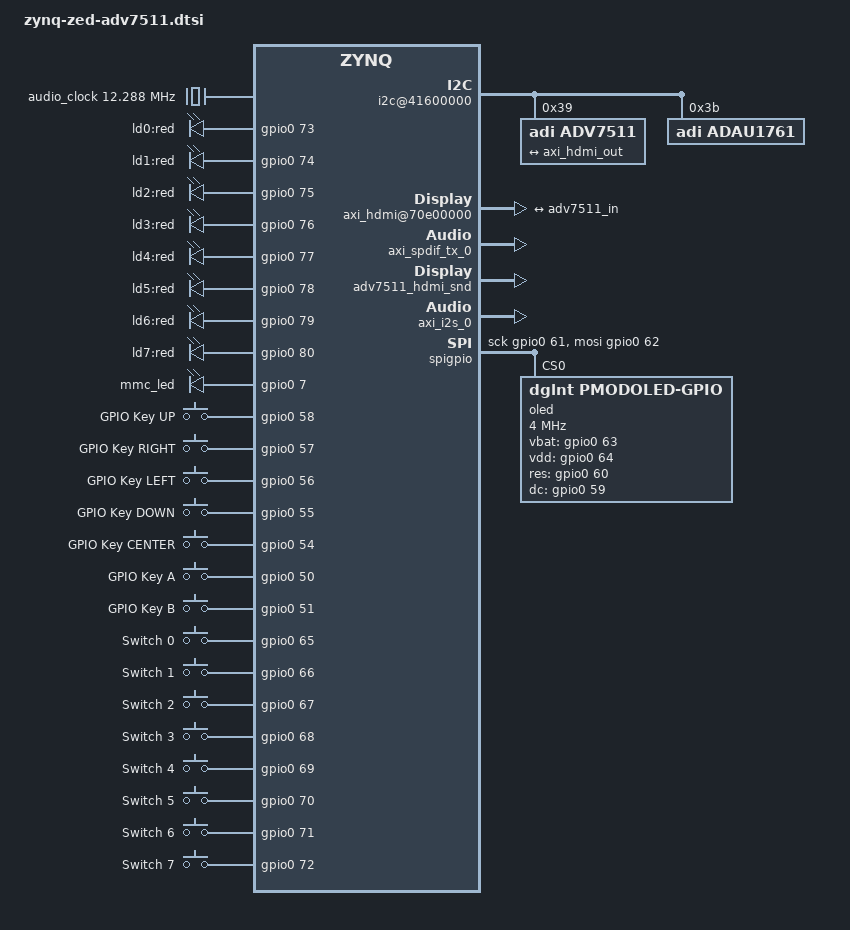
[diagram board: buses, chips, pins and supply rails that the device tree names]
/ {
	fpga_axi: fpga-axi@0 {
		compatible = "simple-bus";
		#address-cells = <0x1>;
		#size-cells = <0x1>;
		ranges;

		i2c@41600000 {
			compatible = "xlnx,axi-iic-1.01.b", "xlnx,xps-iic-2.00.a";
			reg = <0x41600000 0x10000>;
			interrupt-parent = <&intc>;
			interrupts = <0 58 0x4>;
			clocks = <&clkc 15>;
			clock-names = "pclk";

			#size-cells = <0>;
			#address-cells = <1>;

			adv7511: adv7511@39 {
				compatible = "adi,adv7511";
				reg = <0x39>;

				adi,input-style = <0x02>;
				adi,input-id = <0x01>;
				adi,input-color-depth = <0x3>;
				adi,sync-pulse = <0x03>;
				adi,bit-justification = <0x01>;
				adi,up-conversion = <0x00>;
				adi,timing-generation-sequence = <0x00>;
				adi,vsync-polarity = <0x02>;
				adi,hsync-polarity = <0x02>;
				adi,tdms-clock-inversion;
				adi,clock-delay = <0x03>;

				#sound-dai-cells = <0>;

				ports {
					#address-cells = <1>;
					#size-cells = <0>;

					port@0 {
						reg = <0>;
						adv7511_in: endpoint {
							remote-endpoint = <&axi_hdmi_out>;
						};
					};

					port@1 {
						reg = <1>;
					};
				};
			};

			adau1761: adau1761@3b {
				compatible = "adi,adau1761";
				reg = <0x3b>;

				clocks = <&audio_clock>;
				clock-names = "mclk";

				#sound-dai-cells = <0>;
			};
		};

		axi_vdma_0: axivdma@43000000 {
			compatible = "xlnx,axi-vdma-1.00.a";
			#address-cells = <1>;
			#size-cells = <1>;
			#dma-cells = <1>;
			#dma-channels = <1>;
			reg = <0x43000000 0x1000>;
			xlnx,num-fstores = <0x3>;
			dma-channel@43000000 {
				compatible = "xlnx,axi-vdma-mm2s-channel";
				interrupts = <0 59 0x4>;
				xlnx,datawidth = <0x40>;
				xlnx,genlock-mode = <0x0>;
				xlnx,include-dre = <0x0>;
			};
		};

		hdmi_clock: axi-clkgen@79000000 {
			compatible = "adi,axi-clkgen-2.00.a";
			reg = <0x79000000 0x10000>;
			#clock-cells = <0>;
			clocks = <&clkc 16>;
		};

		axi_hdmi@70e00000 {
			compatible = "adi,axi-hdmi-tx-1.00.a";
			reg = <0x70e00000 0x10000>;
			dmas = <&axi_vdma_0 0>;
			dma-names = "video";
			clocks = <&hdmi_clock>;

			port {
				axi_hdmi_out: endpoint {
					remote-endpoint = <&adv7511_in>;
				};
			};
		};

		audio_clock: audio_clock {
			compatible = "fixed-clock";
			#clock-cells = <0>;
			clock-frequency = <12288000>;
		};

		axi_spdif_tx_0: axi-spdif-tx@0x75c00000 {
			compatible = "adi,axi-spdif-tx-1.00.a";
			reg = <0x75c00000 0x1000>;
			dmas = <&dmac_s 0>;
			dma-names = "tx";
			clocks = <&clkc 15>, <&audio_clock>;
			clock-names = "axi", "ref";

			#sound-dai-cells = <0>;
		};

		adv7511_hdmi_snd {
			compatible = "simple-audio-card";
			simple-audio-card,name = "HDMI monitor";
			simple-audio-card,widgets =
				"Speaker", "Speaker";
			simple-audio-card,routing =
				"Speaker", "TMDS";

			simple-audio-card,dai-link@0 {
				format = "spdif";
				cpu {
					sound-dai = <&axi_spdif_tx_0>;
					frame-master;
					bitclock-master;
				};
				codec {
					sound-dai = <&adv7511>;
				};
			};
		};

		axi_i2s_0: axi-i2s@0x77600000 {
			compatible = "adi,axi-i2s-1.00.a";
			reg = <0x77600000 0x1000>;
			dmas = <&dmac_s 1 &dmac_s 2>;
			dma-names = "tx", "rx";
			clocks = <&clkc 15>, <&audio_clock>;
			clock-names = "axi", "ref";

			#sound-dai-cells = <0>;
		};

		zed_sound {
			compatible = "simple-audio-card";
			simple-audio-card,name = "ZED ADAU1761";
			simple-audio-card,widgets =
				"Microphone", "Mic In",
				"Headphone", "Headphone Out",
				"Line", "Line In",
				"Line", "Line Out";
			simple-audio-card,routing =
				"Line Out", "LOUT",
				"Line Out", "ROUT",
				"Headphone Out", "LHP",
				"Headphone Out", "RHP",
				"Mic In", "MICBIAS",
				"LINN", "Mic In",
				"RINN", "Mic In",
				"LAUX", "Line In",
				"RAUX", "Line In";

			simple-audio-card,dai-link@0 {
				format = "i2s";
				cpu {
					sound-dai = <&axi_i2s_0>;
					frame-master;
					bitclock-master;
				};
				codec {
					sound-dai = <&adau1761>;
				};
			};
		};
	};

	leds {
		compatible = "gpio-leds";
		ld0 {
			label = "ld0:red";
			gpios = <&gpio0 73 0>;
		};

		ld1 {
			label = "ld1:red";
			gpios = <&gpio0 74 0>;
		};

		ld2 {
			label = "ld2:red";
			gpios = <&gpio0 75 0>;
		};

		ld3 {
			label = "ld3:red";
			gpios = <&gpio0 76 0>;
		};

		ld4 {
			label = "ld4:red";
			gpios = <&gpio0 77 0>;
		};

		ld5 {
			label = "ld5:red";
			gpios = <&gpio0 78 0>;
		};

		ld6 {
			label = "ld6:red";
			gpios = <&gpio0 79 0>;
		};

		ld7 {
			label = "ld7:red";
			gpios = <&gpio0 80 0>;
		};

		mmc_led {
			label = "mmc_led";
			gpios = <&gpio0 7 0>;
			linux,default-trigger = "mmc0";
		};
	};

	buttons {
		compatible = "gpio-keys";
		label = "buttons";
		autorepeat;

		up {
			label = "GPIO Key UP";
			linux,code = <103>;
			gpios = <&gpio0 58 0>;
		};

		right {
			label = "GPIO Key RIGHT";
			linux,code = <106>;
			gpios = <&gpio0 57 0>;
		};

		left {
			label = "GPIO Key LEFT";
			linux,code = <105>;
			gpios = <&gpio0 56 0>;
		};

		down {
			label = "GPIO Key DOWN";
			linux,code = <108>;
			gpios = <&gpio0 55 0>;
		};

		center {
			label = "GPIO Key CENTER";
			linux,code = <28>;
			gpios = <&gpio0 54 0>;
		};

		a {
			label = "GPIO Key A";
			linux,code = <1>;
			gpios = <&gpio0 50 0>;
		};

		b {
			label = "GPIO Key B";
			linux,code = <14>;
			gpios = <&gpio0 51 0>;
		};
	};

	switches {
		compatible = "gpio-keys";
		label = "switches";

		sw0 {
			label = "Switch 0";
			linux,code = <11>;
			gpios = <&gpio0 65 0>;
		};

		sw1 {
			label = "Switch 1";
			linux,code = <2>;
			gpios = <&gpio0 66 0>;
		};
		sw2 {
			label = "Switch 2";
			linux,code = <3>;
			gpios = <&gpio0 67 0>;
		};

		sw3 {
			label = "Switch 3";
			linux,code = <4>;
			gpios = <&gpio0 68 0>;
		};

		sw4 {
			label = "Switch 4";
			linux,code = <5>;
			gpios = <&gpio0 69 0>;
		};

		sw5 {
			label = "Switch 5";
			linux,code = <6>;
			gpios = <&gpio0 70 0>;
		};

		sw6 {
			label = "Switch 6";
			linux,code = <7>;
			gpios = <&gpio0 71 0>;
		};

		sw7 {
			label = "Switch 7";
			linux,code = <8>;
			gpios = <&gpio0 72 0>;
		};
	};

	spigpio {
		compatible = "spi-gpio";
		#address-cells = <0x1>;
		#size-cells = <0>;

		gpio-sck = <&gpio0 61 0>;
		gpio-mosi = <&gpio0 62 0>;
		num-chipselects = <0>;

		/* clients */
		oled@0 {
			compatible = "dglnt,pmodoled-gpio";
			reg = <0>;
			/* GPIO Pins */
			vbat-gpio = <&gpio0 63 0>;
			vdd-gpio = <&gpio0 64 0>;
			res-gpio = <&gpio0 60 0>;
			dc-gpio = <&gpio0 59 0>;
			/* SPI-GPIOs */
			spi-max-frequency = <4000000>;
			/* spi-sclk-gpio = <&gpio0 61 0>;
			spi-sdin-gpio = <&gpio0 62 0>; */
		};
	};
};
